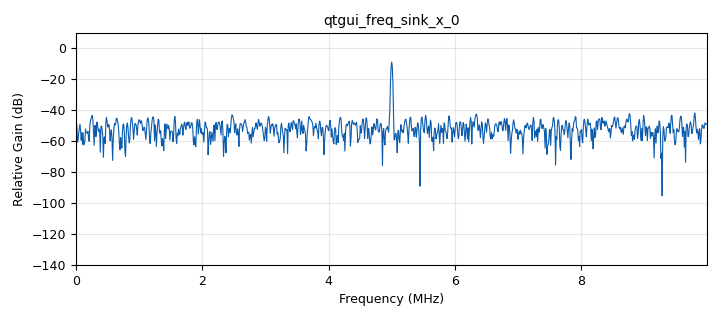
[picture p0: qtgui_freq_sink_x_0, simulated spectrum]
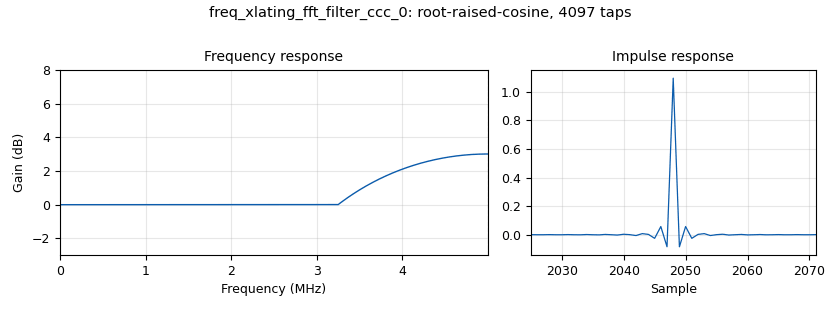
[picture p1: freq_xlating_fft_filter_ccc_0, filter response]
<?xml version='1.0' encoding='utf-8'?>
<?grc format='1' created='3.7.10'?>
<flow_graph>
<block>
<key>options</key>
<param><key>id</key><value>signal_extractor</value></param>
<param><key>generate_options</key><value>qt_gui</value></param>
</block>
<block>
<key>variable</key>
<param><key>id</key><value>fft_size</value></param>
<param><key>value</key><value>500*ifft_size</value></param>
</block>
<block>
<key>variable_qtgui_range</key>
<param><key>id</key><value>freq_range_coarse</value></param>
<param><key>value</key><value>0</value></param>
<param><key>orient</key><value>Qt.Horizontal</value></param>
<param><key>start</key><value>-4.9e6</value></param>
<param><key>step</key><value>20e3</value></param>
<param><key>stop</key><value>4.9e6</value></param>
</block>
<block>
<key>variable_qtgui_range</key>
<param><key>id</key><value>freq_range_fine</value></param>
<param><key>value</key><value>0</value></param>
<param><key>orient</key><value>Qt.Horizontal</value></param>
<param><key>start</key><value>-10e3</value></param>
<param><key>step</key><value>1e3</value></param>
<param><key>stop</key><value>10e3</value></param>
</block>
<block>
<key>variable</key>
<param><key>id</key><value>ifft_size</value></param>
<param><key>value</key><value>64</value></param>
</block>
<block>
<key>variable</key>
<param><key>id</key><value>samp_rate</value></param>
<param><key>value</key><value>10e6</value></param>
</block>
<block>
<key>variable_rrc_filter_taps</key>
<param><key>id</key><value>variable_rrc_filter_taps_0</value></param>
<param><key>alpha</key><value>0.35</value></param>
<param><key>gain</key><value>1.0</value></param>
<param><key>ntaps</key><value>4096</value></param>
<param><key>samp_rate</key><value>samp_rate</value></param>
<param><key>sym_rate</key><value>10e6</value></param>
</block>
<block>
<key>analog_noise_source_x</key>
<param><key>id</key><value>analog_noise_source_x_0</value></param>
<param><key>amp</key><value>0.2</value></param>
<param><key>noise_type</key><value>analog.GR_GAUSSIAN</value></param>
<param><key>type</key><value>complex</value></param>
<param><key>seed</key><value>0</value></param>
</block>
<block>
<key>analog_sig_source_x</key>
<param><key>id</key><value>analog_sig_source_x_0_0</value></param>
<param><key>amp</key><value>1</value></param>
<param><key>freq</key><value>freq_range_coarse</value></param>
<param><key>offset</key><value>0</value></param>
<param><key>type</key><value>complex</value></param>
<param><key>samp_rate</key><value>samp_rate</value></param>
<param><key>waveform</key><value>analog.GR_COS_WAVE</value></param>
</block>
<block>
<key>analog_sig_source_x</key>
<param><key>id</key><value>analog_sig_source_x_0_0_1</value></param>
<param><key>amp</key><value>1</value></param>
<param><key>freq</key><value>freq_range_fine</value></param>
<param><key>offset</key><value>0</value></param>
<param><key>type</key><value>complex</value></param>
<param><key>samp_rate</key><value>samp_rate</value></param>
<param><key>waveform</key><value>analog.GR_COS_WAVE</value></param>
</block>
<block>
<key>blocks_add_xx</key>
<param><key>id</key><value>blocks_add_xx_0</value></param>
<param><key>type</key><value>complex</value></param>
</block>
<block>
<key>blocks_add_xx</key>
<param><key>id</key><value>blocks_add_xx_0_0</value></param>
<param><key>type</key><value>complex</value></param>
</block>
<block>
<key>blocks_complex_to_mag_squared</key>
<param><key>id</key><value>blocks_complex_to_mag_squared_0_0</value></param>
</block>
<block>
<key>blocks_multiply_const_vxx</key>
<param><key>id</key><value>blocks_multiply_const_vxx_0_0</value></param>
<param><key>const</key><value>1.0/fft_size</value></param>
<param><key>type</key><value>complex</value></param>
</block>
<block>
<key>blocks_multiply_xx</key>
<param><key>id</key><value>blocks_multiply_xx_0</value></param>
<param><key>type</key><value>complex</value></param>
</block>
<block>
<key>blocks_null_source</key>
<param><key>id</key><value>blocks_null_source_0</value></param>
<param><key>bus_conns</key><value>[[0,],]</value></param>
<param><key>type</key><value>complex</value></param>
</block>
<block>
<key>blocks_stream_to_vector</key>
<param><key>id</key><value>blocks_stream_to_vector_1</value></param>
<param><key>type</key><value>complex</value></param>
<param><key>num_items</key><value>fft_size</value></param>
</block>
<block>
<key>blocks_throttle</key>
<param><key>id</key><value>blocks_throttle_0</value></param>
<param><key>samples_per_second</key><value>samp_rate</value></param>
<param><key>type</key><value>complex</value></param>
</block>
<block>
<key>blocks_vector_to_stream</key>
<param><key>id</key><value>blocks_vector_to_stream_1</value></param>
<param><key>type</key><value>complex</value></param>
<param><key>num_items</key><value>fft_size</value></param>
</block>
<block>
<key>fft_vxx</key>
<param><key>id</key><value>fft_vxx_1</value></param>
<param><key>fft_size</key><value>fft_size</value></param>
<param><key>forward</key><value>True</value></param>
<param><key>type</key><value>complex</value></param>
<param><key>shift</key><value>True</value></param>
<param><key>window</key><value>window.blackmanharris(fft_size)</value></param>
</block>
<block>
<key>freq_xlating_fft_filter_ccc</key>
<param><key>id</key><value>freq_xlating_fft_filter_ccc_0</value></param>
<param><key>center_freq</key><value>0</value></param>
<param><key>decim</key><value>1</value></param>
<param><key>samp_delay</key><value>64</value></param>
<param><key>samp_rate</key><value>samp_rate</value></param>
<param><key>taps</key><value>variable_rrc_filter_taps_0</value></param>
</block>
<block>
<key>phasma_sigmf_debug</key>
<param><key>id</key><value>phasma_sigmf_debug_0</value></param>
<param><key>conseq_channel_num</key><value>500</value></param>
<param><key>ifft_size</key><value>ifft_size</value></param>
</block>
<block>
<key>phasma_signal_extractor</key>
<param><key>id</key><value>phasma_signal_extractor_0</value></param>
<param><key>total_bw</key><value>10e6</value></param>
<param><key>channel_bw</key><value>20e3</value></param>
<param><key>threshold_db</key><value>-44</value></param>
<param><key>ifft_size</key><value>ifft_size</value></param>
<param><key>sig_num</key><value>10</value></param>
<param><key>samp_rate</key><value>10e6</value></param>
<param><key>signal_duration</key><value>100e-3</value></param>
<param><key>silence_guardband</key><value>100</value></param>
</block>
<block>
<key>qtgui_freq_sink_x</key>
<param><key>id</key><value>qtgui_freq_sink_x_0</value></param>
<param><key>bw</key><value>samp_rate</value></param>
<param><key>fc</key><value>5e6</value></param>
<param><key>ctrlpanel</key><value>True</value></param>
<param><key>fftsize</key><value>1024</value></param>
<param><key>showports</key><value>True</value></param>
<param><key>type</key><value>complex</value></param>
<param><key>wintype</key><value>firdes.WIN_BLACKMAN_hARRIS</value></param>
</block>
<block>
<key>qtgui_freq_sink_x</key>
<param><key>id</key><value>qtgui_freq_sink_x_1</value></param>
<param><key>bw</key><value>100e3</value></param>
<param><key>fc</key><value>0</value></param>
<param><key>ctrlpanel</key><value>True</value></param>
<param><key>fftsize</key><value>1024</value></param>
<param><key>showports</key><value>True</value></param>
<param><key>type</key><value>complex</value></param>
<param><key>wintype</key><value>firdes.WIN_BLACKMAN_hARRIS</value></param>
</block>
<block>
<key>qtgui_time_sink_x</key>
<param><key>id</key><value>qtgui_time_sink_x_1</value></param>
<param><key>_enabled</key><value>0</value></param>
<param><key>color1</key><value>"blue"</value></param>
<param><key>label1</key><value></value></param>
<param><key>color2</key><value>"red"</value></param>
<param><key>label2</key><value></value></param>
<param><key>size</key><value>1024</value></param>
<param><key>srate</key><value>samp_rate</value></param>
<param><key>type</key><value>complex</value></param>
</block>
<connection><source_block_id>analog_noise_source_x_0</source_block_id><sink_block_id>blocks_add_xx_0_0</sink_block_id><source_key>0</source_key><sink_key>0</sink_key></connection>
<connection><source_block_id>analog_sig_source_x_0_0</source_block_id><sink_block_id>blocks_multiply_xx_0</sink_block_id><source_key>0</source_key><sink_key>1</sink_key></connection>
<connection><source_block_id>analog_sig_source_x_0_0_1</source_block_id><sink_block_id>blocks_multiply_xx_0</sink_block_id><source_key>0</source_key><sink_key>0</sink_key></connection>
<connection><source_block_id>blocks_add_xx_0</source_block_id><sink_block_id>blocks_add_xx_0_0</sink_block_id><source_key>0</source_key><sink_key>1</sink_key></connection>
<connection><source_block_id>blocks_add_xx_0_0</source_block_id><sink_block_id>blocks_throttle_0</sink_block_id><source_key>0</source_key><sink_key>0</sink_key></connection>
<connection><source_block_id>blocks_add_xx_0_0</source_block_id><sink_block_id>qtgui_freq_sink_x_0</sink_block_id><source_key>0</source_key><sink_key>0</sink_key></connection>
<connection><source_block_id>blocks_complex_to_mag_squared_0_0</source_block_id><sink_block_id>phasma_signal_extractor_0</sink_block_id><source_key>0</source_key><sink_key>0</sink_key></connection>
<connection><source_block_id>blocks_multiply_const_vxx_0_0</source_block_id><sink_block_id>blocks_complex_to_mag_squared_0_0</sink_block_id><source_key>0</source_key><sink_key>0</sink_key></connection>
<connection><source_block_id>blocks_multiply_const_vxx_0_0</source_block_id><sink_block_id>phasma_signal_extractor_0</sink_block_id><source_key>0</source_key><sink_key>1</sink_key></connection>
<connection><source_block_id>blocks_multiply_xx_0</source_block_id><sink_block_id>blocks_add_xx_0</sink_block_id><source_key>0</source_key><sink_key>0</sink_key></connection>
<connection><source_block_id>blocks_null_source_0</source_block_id><sink_block_id>blocks_add_xx_0</sink_block_id><source_key>0</source_key><sink_key>1</sink_key></connection>
<connection><source_block_id>blocks_stream_to_vector_1</source_block_id><sink_block_id>fft_vxx_1</sink_block_id><source_key>0</source_key><sink_key>0</sink_key></connection>
<connection><source_block_id>blocks_throttle_0</source_block_id><sink_block_id>blocks_stream_to_vector_1</sink_block_id><source_key>0</source_key><sink_key>0</sink_key></connection>
<connection><source_block_id>blocks_vector_to_stream_1</source_block_id><sink_block_id>blocks_multiply_const_vxx_0_0</sink_block_id><source_key>0</source_key><sink_key>0</sink_key></connection>
<connection><source_block_id>fft_vxx_1</source_block_id><sink_block_id>blocks_vector_to_stream_1</sink_block_id><source_key>0</source_key><sink_key>0</sink_key></connection>
<connection><source_block_id>freq_xlating_fft_filter_ccc_0</source_block_id><sink_block_id>qtgui_freq_sink_x_1</sink_block_id><source_key>0</source_key><sink_key>0</sink_key></connection>
<connection><source_block_id>phasma_sigmf_debug_0</source_block_id><sink_block_id>freq_xlating_fft_filter_ccc_0</sink_block_id><source_key>0</source_key><sink_key>0</sink_key></connection>
<connection><source_block_id>phasma_sigmf_debug_0</source_block_id><sink_block_id>qtgui_time_sink_x_1</sink_block_id><source_key>0</source_key><sink_key>0</sink_key></connection>
<connection><source_block_id>phasma_signal_extractor_0</source_block_id><sink_block_id>phasma_sigmf_debug_0</sink_block_id><source_key>out</source_key><sink_key>sigmf</sink_key></connection>
</flow_graph>
